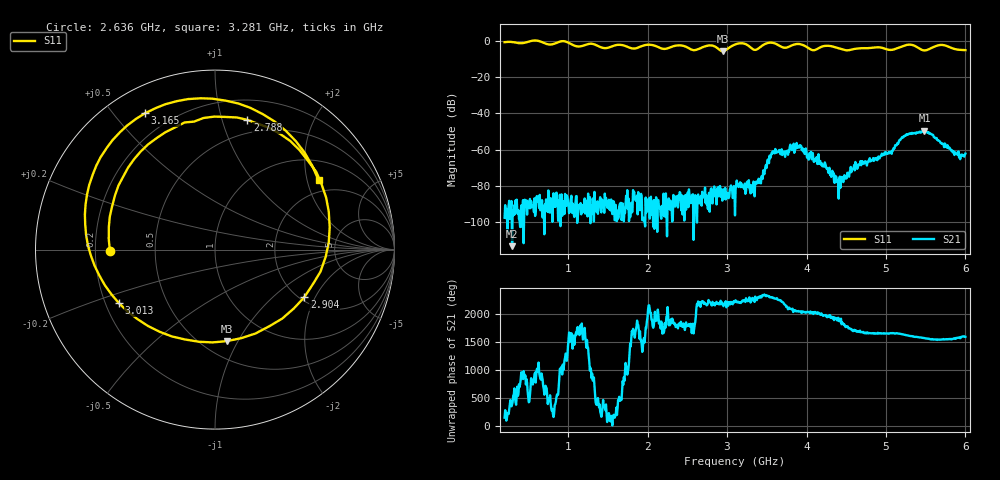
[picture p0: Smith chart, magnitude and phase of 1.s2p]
! NanoVNA-App
! Date: 2024-06-25 16:06:06
! Start: 200MHz Stop: 6GHz Points: 801
! S-Parameter data: F S11 S21 S12 S22
# Hz S RI R 50
!  Frequency  S11_Real  S11_Imag  S21_Real  S21_Imag  S12_Real  S12_Imag  S22_Real  S22_Imag
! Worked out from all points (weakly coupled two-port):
!   801 points, 200 MHz to 6 GHz, reference 50 ohm
!   highest |S21| = -49.63 dB at 5.485 GHz (marker M1); lowest = -113.2 dB at 294.2 MHz (marker M2)
!   lowest |S11| = -5.8 dB at 2.948 GHz (marker M3), VSWR 3.12, Z = 32.6 - j45.2 ohm
!   |S11| at or under -10 dB: nowhere
!   S12 and S22 are empty: the file has one direction only
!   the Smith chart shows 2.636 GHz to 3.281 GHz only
!   S11 on the Smith chart (normalised r, x): 2.636 GHz: 0.26, -0.01; 2.788 GHz: 0.37, +1.21; 2.904 GHz: 2.11, -1.64; 3.013 GHz: 0.26, -0.25; 3.165 GHz: 0.11, +0.60; 3.281 GHz: 1.58, +2.35
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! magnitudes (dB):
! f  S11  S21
! 200 MHz  -0.8  -97.5
! 294.2 MHz  -0.7  -113.2
! 1.171 GHz  -2.9  -94.3
! 2.136 GHz  -3.5  -87.9
! 2.636 GHz  -4.6  -84.7
! 2.788 GHz  -2.6  -86.2
! 2.904 GHz  -5.0  -84.4
! 2.948 GHz  -5.8  -82.0
! 3.013 GHz  -4.3  -84.0
! 3.1 GHz  -2.1  -96.2
! 3.165 GHz  -1.4  -78.0
! 3.281 GHz  -3.2  -80.6
! 3.419 GHz  -3.4  -76.4
! 3.586 GHz  -1.2  -61.5
! 3.905 GHz  -1.8  -58.9
! 4.072 GHz  -5.1  -64.8
! 4.412 GHz  -4.2  -76.5
! 4.601 GHz  -4.5  -68.5
! 5.036 GHz  -5.0  -61.4
! 5.231 GHz  -2.7  -52.6
! 5.485 GHz  -5.3  -49.6
! 6 GHz  -5.2  -62.2
